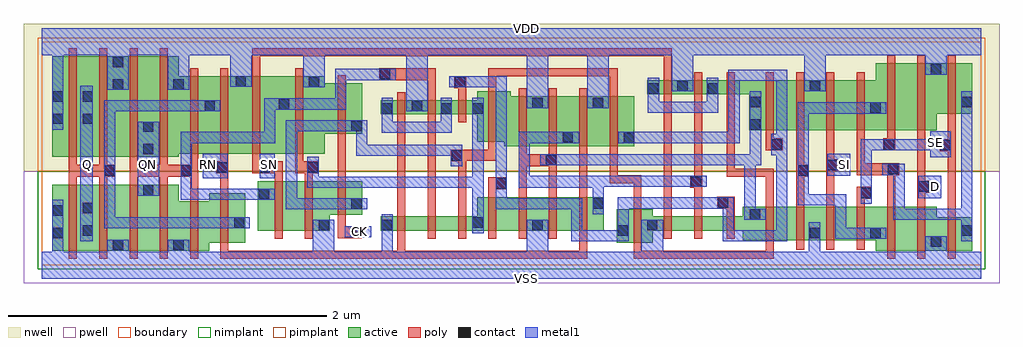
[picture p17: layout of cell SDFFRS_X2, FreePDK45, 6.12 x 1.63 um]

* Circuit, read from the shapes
.subckt SDFFRS_X2 CK D Q QN RN SE SI SN VDD VSS
M1 Q n1 VSS VSUBS nfet w=0.415u l=0.05u m=2
M2 QN n2 VSS VSUBS nfet w=0.415u l=0.05u m=2
M3 n3 n2 VSS VSUBS nfet w=0.31u l=0.05u
M4 n1 RN n3 VSUBS nfet w=0.31u l=0.05u
M5 n4 SN n2 VSUBS nfet w=0.31u l=0.05u
M6 VSS n5 n4 VSUBS nfet w=0.31u l=0.05u
M7 n6 CK VSS VSUBS nfet w=0.21u l=0.05u
M8 n7 RN VSS VSUBS nfet w=0.09u l=0.05u
M9 n8 n2 n7 VSUBS nfet w=0.09u l=0.05u
M10 n5 n6 n8 VSUBS nfet w=0.09u l=0.05u
M11 n9 n10 n5 VSUBS nfet w=0.21u l=0.05u
M12 VSS n11 n9 VSUBS nfet w=0.21u l=0.05u
M13 n12 n11 VSS VSUBS nfet w=0.21u l=0.05u
M14 n13 RN n12 VSUBS nfet w=0.21u l=0.05u
M15 VSS n6 n10 VSUBS nfet w=0.21u l=0.05u
M16 n14 SN VSS VSUBS nfet w=0.09u l=0.05u
M17 n15 n13 n14 VSUBS nfet w=0.09u l=0.05u
M18 n11 n10 n15 VSUBS nfet w=0.09u l=0.05u
M19 n16 n6 n11 VSUBS nfet w=0.21u l=0.05u
M20 VSS n17 n16 VSUBS nfet w=0.21u l=0.05u
M21 n18 SI VSS VSUBS nfet w=0.21u l=0.05u
M22 n17 SE n18 VSUBS nfet w=0.21u l=0.05u
M23 n19 n20 n17 VSUBS nfet w=0.275u l=0.05u
M24 VSS D n19 VSUBS nfet w=0.275u l=0.05u
M25 n20 SE VSS VSUBS nfet w=0.21u l=0.05u
M26 Q n1 VDD n21 pfet w=0.63u l=0.05u m=2
M27 QN n2 VDD n21 pfet w=0.63u l=0.05u m=2
M28 n1 n2 VDD n21 pfet w=0.485u l=0.05u
M29 VDD RN n1 n21 pfet w=0.485u l=0.05u
M30 n2 SN VDD n21 pfet w=0.485u l=0.05u
M31 VDD n5 n2 n21 pfet w=0.485u l=0.05u
M32 n6 CK VDD n21 pfet w=0.315u l=0.05u
M33 VDD RN n22 n21 pfet w=0.09u l=0.05u
M34 n22 n2 VDD n21 pfet w=0.09u l=0.05u
M35 n5 n10 n22 n21 pfet w=0.09u l=0.05u
M36 n23 n6 n5 n21 pfet w=0.315u l=0.05u
M37 VDD n11 n23 n21 pfet w=0.315u l=0.05u
M38 n13 n11 VDD n21 pfet w=0.315u l=0.05u
M39 VDD RN n13 n21 pfet w=0.315u l=0.05u
M40 n10 n6 VDD n21 pfet w=0.315u l=0.05u
M41 VDD SN n24 n21 pfet w=0.09u l=0.05u
M42 n24 n13 VDD n21 pfet w=0.09u l=0.05u
M43 n11 n6 n24 n21 pfet w=0.09u l=0.05u
M44 n25 n10 n11 n21 pfet w=0.315u l=0.05u
M45 VDD n17 n25 n21 pfet w=0.315u l=0.05u
M46 n26 SI VDD n21 pfet w=0.315u l=0.05u
M47 n17 n20 n26 n21 pfet w=0.315u l=0.05u
M48 n27 SE n17 n21 pfet w=0.42u l=0.05u
M49 VDD D n27 n21 pfet w=0.42u l=0.05u
M50 n20 SE VDD n21 pfet w=0.315u l=0.05u
.ends

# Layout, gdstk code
import gdstk
lib = gdstk.Library(unit=1e-6, precision=5e-10)
def R(c, l, rs):  # rectangles x0, y0, x1, y1
    for r in rs: c.add(gdstk.rectangle(r[:2], r[2:], *l))
def P(c, l, *ps):  # polygons
    for p in ps: c.add(gdstk.Polygon(p, *l))
active = (1, 0)
pwell = (2, 0)
nwell = (3, 0)
nimplant = (4, 0)
pimplant = (5, 0)
poly = (9, 0)
contact = (10, 0)
metal1 = (11, 0)
boundary = (235, 0)

sdffrs_x2 = lib.new_cell('SDFFRS_X2')
P(sdffrs_x2, active, [(3.795,1.07),(4.435,1.07),(4.435,0.845),(5.61,0.845),(5.61,0.95),(5.835,0.95),(5.835,1.265),(5.23,1.265),(5.23,1.16),(3.795,1.16)],
  [(3.605,0.14),(3.83,0.14),(3.83,0.215),(4.395,0.215),(4.395,0.155),(5.23,0.155),(5.23,0.09),(5.835,0.09),(5.835,0.3),(5.61,0.3),(5.61,0.365),(4.395,0.365),(4.395,0.305),(3.83,0.305),(3.83,0.35),(3.605,0.35)],
  [(2.125,0.945),(2.73,0.945),(2.73,0.775),(2.9,0.775),(2.9,0.745),(3.715,0.745),(3.715,1.06),(2.94,1.06),(2.94,1.09),(2.73,1.09),(2.73,1.035),(2.125,1.035)],
  [(2.125,0.215),(3.525,0.215),(3.525,0.425),(2.73,0.425),(2.73,0.305),(2.125,0.305)],
  [(0.065,0.68),(0.86,0.68),(0.86,0.7),(1.775,0.7),(1.775,0.825),(2.01,0.825),(2.01,1.14),(1.775,1.14),(1.775,1.185),(0.86,1.185),(0.86,1.31),(0.065,1.31)],
  [(1.355,0.215),(1.805,0.215),(1.805,0.315),(2.01,0.315),(2.01,0.525),(1.355,0.525)],
  [(0.065,0.09),(1.05,0.09),(1.05,0.14),(1.275,0.14),(1.275,0.45),(1.05,0.45),(1.05,0.4),(0.86,0.4),(0.86,0.505),(0.065,0.505)])
R(sdffrs_x2, pwell, [(-0.115,-0.115,6.005,0.59)])
R(sdffrs_x2, nwell, [(-0.115,0.59,6.005,1.515)])
R(sdffrs_x2, nimplant, [(-0.025,-0.025,5.915,0.59)])
R(sdffrs_x2, pimplant, [(-0.025,0.59,5.915,1.425)])
P(sdffrs_x2, poly, [(5.63,0.715),(5.68,0.715),(5.68,0.04),(5.73,0.04),(5.73,1.315),(5.68,1.315),(5.68,0.79),(5.63,0.79)],
  [(5.49,0.04),(5.54,0.04),(5.54,0.455),(5.565,0.455),(5.565,0.53),(5.54,0.53),(5.54,1.315),(5.49,1.315)],
  [(5.11,0.565),(5.3,0.565),(5.3,0.04),(5.35,0.04),(5.35,0.565),(5.375,0.565),(5.375,0.64),(5.16,0.64),(5.16,1.21),(5.11,1.21)],
  [(5.275,0.72),(5.35,0.72),(5.35,1.315),(5.3,1.315),(5.3,0.795),(5.275,0.795)],
  [(5.11,0.095),(5.16,0.095),(5.16,0.415),(5.205,0.415),(5.205,0.49),(5.11,0.49)],
  [(4.92,0.095),(4.97,0.095),(4.97,0.59),(4.995,0.59),(4.995,0.665),(4.97,0.665),(4.97,1.21),(4.92,1.21)],
  [(4.73,0.095),(4.78,0.095),(4.78,0.555),(4.81,0.555),(4.81,0.63),(4.78,0.63),(4.78,1.21),(4.73,1.21)],
  [(4.54,0.72),(4.645,0.72),(4.645,0.795),(4.59,0.795),(4.59,1.21),(4.54,1.21)],
  [(4.295,0.555),(4.54,0.555),(4.54,0.09),(3.76,0.09),(3.76,0.565),(3.61,0.565),(3.61,1.235),(2.8,1.235),(2.8,0.725),(2.565,0.725),(2.565,0.65),(2.61,0.65),(2.61,0.165),(2.66,0.165),(2.66,0.655),(2.85,0.655),(2.85,1.185),(3.56,1.185),(3.56,0.515),(3.71,0.515),(3.71,0.04),(4.59,0.04),(4.59,0.605),(4.345,0.605),(4.345,1.21),(4.295,1.21)],
  [(4.235,0.355),(4.295,0.355),(4.295,0.165),(4.345,0.165),(4.345,0.43),(4.235,0.43)],
  [(4.065,0.485),(4.09,0.485),(4.09,0.165),(4.14,0.165),(4.14,1.21),(4.09,1.21),(4.09,0.56),(4.065,0.56)],
  [(1.37,1.31),(3.9,1.31),(3.9,0.165),(3.95,0.165),(3.95,1.36),(1.32,1.36),(1.32,0.575),(1.46,0.575),(1.46,0.165),(1.51,0.165),(1.51,0.65),(1.37,0.65)],
  [(1.095,0.575),(1.12,0.575),(1.12,0.04),(3.42,0.04),(3.42,1.11),(3.37,1.11),(3.37,0.09),(2.28,0.09),(2.28,1.085),(2.23,1.085),(2.23,0.09),(1.17,0.09),(1.17,1.235),(1.12,1.235),(1.12,0.65),(1.095,0.65)],
  [(2.99,0.165),(3.04,0.165),(3.04,0.62),(3.18,0.62),(3.18,0.165),(3.23,0.165),(3.23,1.11),(3.18,1.11),(3.18,0.695),(3.04,0.695),(3.04,1.11),(2.99,1.11)],
  [(2.8,0.165),(2.85,0.165),(2.85,0.475),(2.915,0.475),(2.915,0.55),(2.8,0.55)],
  [(2.585,1.11),(2.61,1.11),(2.61,0.895),(2.66,0.895),(2.66,1.185),(2.585,1.185)],
  [(2.115,1.16),(2.42,1.16),(2.42,0.165),(2.47,0.165),(2.47,1.235),(2.115,1.235)],
  [(1.855,0.17),(2.005,0.17),(2.005,0.245),(1.905,0.245),(1.905,1.19),(1.855,1.19)],
  [(1.59,0.575),(1.65,0.575),(1.65,0.165),(1.7,0.165),(1.7,0.575),(1.735,0.575),(1.735,0.65),(1.64,0.65),(1.64,1.235),(1.59,1.235)],
  [(0.55,0.04),(0.6,0.04),(0.6,0.555),(0.74,0.555),(0.74,0.04),(0.79,0.04),(0.79,0.555),(0.93,0.555),(0.93,0.04),(0.98,0.04),(0.98,1.235),(0.93,1.235),(0.93,0.63),(0.79,0.63),(0.79,1.36),(0.74,1.36),(0.74,0.63),(0.6,0.63),(0.6,1.36),(0.55,1.36)],
  [(0.17,0.04),(0.22,0.04),(0.22,0.555),(0.36,0.555),(0.36,0.04),(0.41,0.04),(0.41,0.555),(0.46,0.555),(0.46,0.63),(0.41,0.63),(0.41,1.36),(0.36,1.36),(0.36,0.63),(0.22,0.63),(0.22,1.36),(0.17,1.36)])
R(sdffrs_x2, contact, [(0.445,0.095,0.51,0.16), (0.825,0.095,0.89,0.16), (5.575,0.115,5.64,0.18), (0.07,0.17,0.135,0.235), (4.815,0.17,4.88,0.235), (5.195,0.17,5.26,0.235), (1.935,0.175,2,0.24), (0.255,0.185,0.32,0.25), (3.61,0.185,3.675,0.25), (5.765,0.185,5.83,0.25), (1.735,0.22,1.8,0.285), (2.13,0.22,2.195,0.285), (3.075,0.22,3.14,0.285), (3.795,0.22,3.86,0.285), (1.205,0.235,1.27,0.3), (2.7,0.235,2.765,0.3), (4.44,0.285,4.505,0.35), (0.07,0.31,0.135,0.375), (0.255,0.325,0.32,0.39), (1.94,0.355,2.005,0.42), (3.455,0.355,3.52,0.42), (4.24,0.36,4.305,0.425), (1.36,0.415,1.425,0.48), (5.135,0.42,5.2,0.485), (0.635,0.435,0.7,0.5), (5.495,0.46,5.56,0.525), (2.845,0.48,2.91,0.545), (4.07,0.49,4.135,0.555), (0.39,0.56,0.455,0.625), (0.87,0.56,0.935,0.625), (4.74,0.56,4.805,0.625), (5.305,0.57,5.37,0.635), (1.1,0.58,1.165,0.645), (1.365,0.58,1.43,0.645), (1.665,0.58,1.73,0.645), (4.925,0.595,4.99,0.66), (3.16,0.625,3.225,0.69), (2.57,0.655,2.635,0.72), (0.635,0.695,0.7,0.76), (5.635,0.72,5.7,0.785), (4.575,0.725,4.64,0.79), (5.28,0.725,5.345,0.79), (3.65,0.765,3.715,0.83), (3.265,0.77,3.33,0.835), (0.635,0.835,0.7,0.9), (1.94,0.84,2.005,0.905), (4.44,0.85,4.505,0.915), (0.07,0.885,0.135,0.95), (0.255,0.885,0.32,0.95), (2.13,0.95,2.195,1.015), (2.505,0.95,2.57,1.015), (2.7,0.95,2.765,1.015), (5.195,0.955,5.26,1.02), (1.02,0.965,1.085,1.03), (2.32,0.965,2.385,1.03), (1.485,0.975,1.55,1.04), (3.075,0.985,3.14,1.05), (3.455,0.985,3.52,1.05), (4.44,0.99,4.505,1.055), (5.765,0.99,5.83,1.055), (0.07,1.025,0.135,1.09), (0.255,1.025,0.32,1.09), (3.8,1.075,3.865,1.14), (4.175,1.075,4.24,1.14), (3.985,1.09,4.05,1.155), (4.815,1.09,4.88,1.155), (0.445,1.1,0.51,1.165), (0.825,1.1,0.89,1.165), (1.675,1.115,1.74,1.18), (2.59,1.115,2.655,1.18), (1.215,1.12,1.28,1.185), (2.12,1.165,2.185,1.23), (5.575,1.195,5.64,1.26), (0.445,1.24,0.51,1.305)])
R(sdffrs_x2, metal1, [(0.24,0.15,0.32,1.125), (0.24,0.15,0.32,1.125), (1.9,0.175,2.065,0.245), (1.9,0.175,2.065,0.245), (5.495,0.42,5.64,0.56), (5.495,0.42,5.64,0.56), (0.6,0.435,0.735,0.9), (0.6,0.435,0.735,0.9), (1.01,0.545,1.165,0.7), (1.01,0.545,1.165,0.7), (1.365,0.545,1.46,0.7), (1.365,0.545,1.46,0.7), (4.925,0.56,5.07,0.7), (4.925,0.56,5.07,0.7)])
P(sdffrs_x2, metal1, [(0,-0.085),(5.89,-0.085),(5.89,0.085),(5.675,0.085),(5.675,0.18),(5.54,0.18),(5.54,0.085),(4.88,0.085),(4.88,0.27),(4.81,0.27),(4.81,0.085),(3.895,0.085),(3.895,0.285),(3.76,0.285),(3.76,0.085),(3.175,0.085),(3.175,0.285),(3.04,0.285),(3.04,0.085),(2.2,0.085),(2.2,0.32),(2.13,0.32),(2.13,0.085),(1.835,0.085),(1.835,0.285),(1.7,0.285),(1.7,0.085),(0.925,0.085),(0.925,0.16),(0.79,0.16),(0.79,0.085),(0.545,0.085),(0.545,0.16),(0.41,0.16),(0.41,0.085),(0.135,0.085),(0.135,0.41),(0.065,0.41),(0.065,0.085),(0,0.085)],
  [(0,1.315),(0.065,1.315),(0.065,0.85),(0.135,0.85),(0.135,1.315),(0.41,1.315),(0.41,1.1),(0.545,1.1),(0.545,1.315),(0.79,1.315),(0.79,1.1),(0.925,1.1),(0.925,1.315),(1.18,1.315),(1.18,1.12),(1.315,1.12),(1.315,1.315),(1.64,1.315),(1.64,1.115),(1.775,1.115),(1.775,1.315),(2.285,1.315),(2.285,0.965),(2.42,0.965),(2.42,1.315),(3.04,1.315),(3.04,0.985),(3.175,0.985),(3.175,1.315),(3.42,1.315),(3.42,0.985),(3.555,0.985),(3.555,1.315),(3.95,1.315),(3.95,1.09),(4.085,1.09),(4.085,1.315),(4.78,1.315),(4.78,1.09),(4.915,1.09),(4.915,1.315),(5.54,1.315),(5.54,1.195),(5.675,1.195),(5.675,1.315),(5.89,1.315),(5.89,1.485),(0,1.485)],
  [(5.135,0.385),(5.205,0.385),(5.205,0.72),(5.57,0.72),(5.57,0.675),(5.7,0.675),(5.7,0.84),(5.57,0.84),(5.57,0.79),(5.135,0.79)],
  [(0,1.315),(0.065,1.315),(0.065,0.85),(0.135,0.85),(0.135,1.315),(0.41,1.315),(0.41,1.1),(0.545,1.1),(0.545,1.315),(0.79,1.315),(0.79,1.1),(0.925,1.1),(0.925,1.315),(1.18,1.315),(1.18,1.12),(1.315,1.12),(1.315,1.315),(1.64,1.315),(1.64,1.115),(1.775,1.115),(1.775,1.315),(2.285,1.315),(2.285,0.965),(2.42,0.965),(2.42,1.315),(3.04,1.315),(3.04,0.985),(3.175,0.985),(3.175,1.315),(3.42,1.315),(3.42,0.985),(3.555,0.985),(3.555,1.315),(3.95,1.315),(3.95,1.09),(4.085,1.09),(4.085,1.315),(4.78,1.315),(4.78,1.09),(4.915,1.09),(4.915,1.315),(5.54,1.315),(5.54,1.195),(5.675,1.195),(5.675,1.315),(5.89,1.315),(5.89,1.485),(0,1.485)],
  [(0,-0.085),(5.89,-0.085),(5.89,0.085),(5.675,0.085),(5.675,0.18),(5.54,0.18),(5.54,0.085),(4.88,0.085),(4.88,0.27),(4.81,0.27),(4.81,0.085),(3.895,0.085),(3.895,0.285),(3.76,0.285),(3.76,0.085),(3.175,0.085),(3.175,0.285),(3.04,0.285),(3.04,0.085),(2.2,0.085),(2.2,0.32),(2.13,0.32),(2.13,0.085),(1.835,0.085),(1.835,0.285),(1.7,0.285),(1.7,0.085),(0.925,0.085),(0.925,0.16),(0.79,0.16),(0.79,0.085),(0.545,0.085),(0.545,0.16),(0.41,0.16),(0.41,0.085),(0.135,0.085),(0.135,0.41),(0.065,0.41),(0.065,0.085),(0,0.085)],
  [(5.27,0.565),(5.34,0.565),(5.34,0.285),(5.765,0.285),(5.765,0.15),(5.835,0.15),(5.835,1.09),(5.765,1.09),(5.765,0.355),(5.41,0.355),(5.41,0.635),(5.27,0.635)],
  [(5.135,0.385),(5.205,0.385),(5.205,0.72),(5.57,0.72),(5.57,0.675),(5.7,0.675),(5.7,0.84),(5.57,0.84),(5.57,0.79),(5.135,0.79)],
  [(4.81,0.95),(5.295,0.95),(5.295,1.02),(4.74,1.02),(4.74,0.375),(4.975,0.375),(4.975,0.165),(5.295,0.165),(5.295,0.235),(5.045,0.235),(5.045,0.445),(4.81,0.445)],
  [(3.615,0.765),(4.375,0.765),(4.375,1.155),(4.605,1.155),(4.605,0.825),(4.575,0.825),(4.575,0.69),(4.605,0.69),(4.605,0.22),(4.34,0.22),(4.34,0.425),(3.61,0.425),(3.61,0.22),(3.39,0.22),(3.39,0.42),(2.915,0.42),(2.915,1.185),(2.555,1.185),(2.555,1.115),(2.845,1.115),(2.845,0.35),(3.32,0.35),(3.32,0.15),(3.68,0.15),(3.68,0.355),(4.27,0.355),(4.27,0.15),(4.675,0.15),(4.675,1.225),(4.305,1.225),(4.305,0.835),(3.615,0.835)],
  [(3.125,0.625),(4.405,0.625),(4.405,0.285),(4.54,0.285),(4.54,0.355),(4.475,0.355),(4.475,0.625),(4.51,0.625),(4.51,1.09),(4.44,1.09),(4.44,0.695),(3.125,0.695)],
  [(3.8,0.955),(4.24,0.955),(4.24,1.175),(4.17,1.175),(4.17,1.025),(3.87,1.025),(3.87,1.175),(3.8,1.175)],
  [(2.99,0.485),(3.455,0.485),(3.455,0.32),(3.525,0.32),(3.525,0.49),(4.17,0.49),(4.17,0.56),(3.06,0.56),(3.06,0.765),(3.37,0.765),(3.37,0.835),(2.99,0.835)],
  [(1.665,0.485),(2.7,0.485),(2.7,0.2),(2.77,0.2),(2.77,1.05),(2.7,1.05),(2.7,0.555),(1.735,0.555),(1.735,0.68),(1.665,0.68)],
  [(1.6,0.84),(1.97,0.84),(1.97,0.685),(2.565,0.685),(2.565,0.62),(2.635,0.62),(2.635,0.755),(2.04,0.755),(2.04,0.91),(1.53,0.91),(1.53,0.35),(2.04,0.35),(2.04,0.42),(1.6,0.42)],
  [(2.13,0.83),(2.57,0.83),(2.57,1.05),(2.5,1.05),(2.5,0.9),(2.2,0.9),(2.2,1.05),(2.13,1.05)],
  [(0.94,0.765),(1.465,0.765),(1.465,0.975),(1.91,0.975),(1.91,1.16),(2.22,1.16),(2.22,1.23),(1.84,1.23),(1.84,1.045),(1.395,1.045),(1.395,0.835),(0.87,0.835),(0.87,0.41),(1.46,0.41),(1.46,0.48),(0.94,0.48)],
  [(0.39,0.23),(1.305,0.23),(1.305,0.3),(0.46,0.3),(0.46,0.965),(1.12,0.965),(1.12,1.035),(0.39,1.035)])
R(sdffrs_x2, boundary, [(0,0,5.89,1.4)])
sdffrs_x2.add(gdstk.Label('VSS', (3.04,-0.085), layer=11, texttype=0))
sdffrs_x2.add(gdstk.Label('VDD', (3.04,1.485), layer=11, texttype=0))
sdffrs_x2.add(gdstk.Label('SN', (1.425,0.63), layer=11, texttype=0))
sdffrs_x2.add(gdstk.Label('SI', (5.035,0.63), layer=11, texttype=0))
sdffrs_x2.add(gdstk.Label('SE', (5.605,0.77), layer=11, texttype=0))
sdffrs_x2.add(gdstk.Label('RN', (1.045,0.63), layer=11, texttype=0))
sdffrs_x2.add(gdstk.Label('QN', (0.665,0.63), layer=11, texttype=0))
sdffrs_x2.add(gdstk.Label('Q', (0.285,0.63), layer=11, texttype=0))
sdffrs_x2.add(gdstk.Label('D', (5.605,0.49), layer=11, texttype=0))
sdffrs_x2.add(gdstk.Label('CK', (1.995,0.21), layer=11, texttype=0))

lib.write_gds('SDFFRS_X2.gds')
